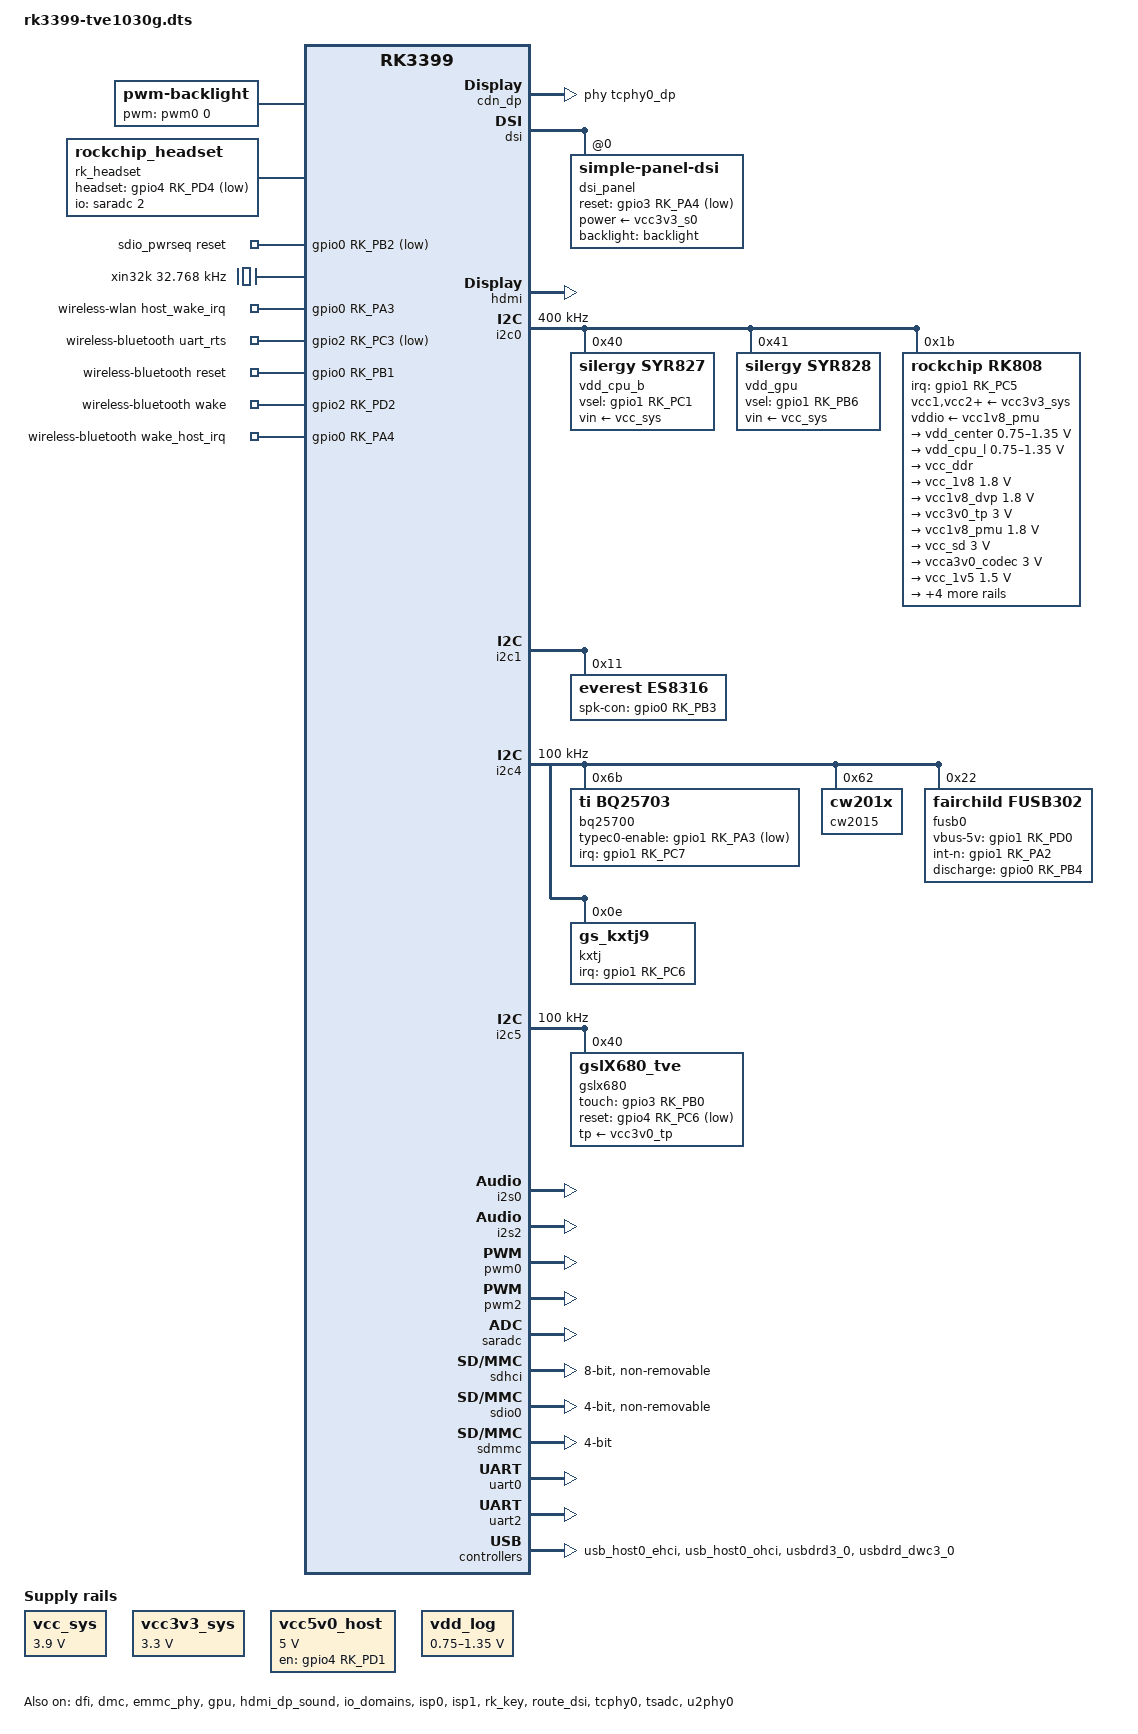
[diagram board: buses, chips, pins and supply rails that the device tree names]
/*
 * Copyright (c) 2018 Fuzhou Rockchip Electronics Co., Ltd
 *
 * SPDX-License-Identifier: (GPL-2.0+ OR MIT)
 */

/dts-v1/;
#include <dt-bindings/pwm/pwm.h>
#include <dt-bindings/sensor-dev.h>
#include "rk3399.dtsi"
#include "rk3399-android.dtsi"
#include "rk3399-opp.dtsi"
#include "rk3399-vop-clk-set.dtsi"

/ {
	compatible = "rockchip,rk3399-tve1030g", "rockchip,rk3399";

	backlight: backlight {
		compatible = "pwm-backlight";
		pwms = <&pwm0 0 25000 0>;
		brightness-levels = <
			  0  20  20  21  21  22  22  23
			 23  24  24  25  25  26  26  27
			 27  28  28  29  29  30  30  31
			 31  32  32  33  33  34  34  35
			 35  36  36  37  37  38  38  39
			 40  41  42  43  44  45  46  47
			 48  49  50  51  52  53  54  55
			 56  57  58  59  60  61  62  63
			 64  65  66  67  68  69  70  71
			 72  73  74  75  76  77  78  79
			 80  81  82  83  84  85  86  87
			 88  89  90  91  92  93  94  95
			 96  97  98  99 100 101 102 103
			104 105 106 107 108 109 110 111
			112 113 114 115 116 117 118 119
			120 121 122 123 124 125 126 127
			128 129 130 131 132 133 134 135
			136 137 138 139 140 141 142 143
			144 145 146 147 148 149 150 151
			152 153 154 155 156 157 158 159
			160 161 162 163 164 165 166 167
			168 169 170 171 172 173 174 175
			176 177 178 179 180 181 182 183
			184 185 186 187 188 189 190 191
			192 193 194 195 196 197 198 199
			200 201 202 203 204 205 206 207
			208 209 210 211 212 213 214 215
			216 217 218 219 220 221 222 223
			224 225 226 227 228 229 230 231
			232 233 234 235 236 237 238 239
			240 241 242 243 244 245 246 247
			248 249 250 251 252 253 254 255
		>;
		default-brightness-level = <200>;
	};

	es8316-sound {
		compatible = "simple-audio-card";
		simple-audio-card,format = "i2s";
		simple-audio-card,name = "rockchip,es8316-codec";
		simple-audio-card,mclk-fs = <256>;
		simple-audio-card,widgets =
			"Microphone", "Mic Jack",
			"Headphone", "Headphone Jack";
		simple-audio-card,routing =
			"Mic Jack", "MICBIAS1",
			"IN1P", "Mic Jack",
			"Headphone Jack", "HPOL",
			"Headphone Jack", "HPOR";
		simple-audio-card,cpu {
			sound-dai = <&i2s0>;
		};
		simple-audio-card,codec {
			sound-dai = <&es8316>;
		};
	};

	rk_headset {
		compatible = "rockchip_headset";
		headset_gpio = <&gpio4 RK_PD4 GPIO_ACTIVE_LOW>;
		pinctrl-names = "default";
		pinctrl-0 = <&hp_det>;
		io-channels = <&saradc 2>;
	};

	sdio_pwrseq: sdio-pwrseq {
		compatible = "mmc-pwrseq-simple";
		clocks = <&rk808 1>;
		clock-names = "ext_clock";
		pinctrl-names = "default";
		pinctrl-0 = <&wifi_enable_h>;

		/*
		 * On the module itself this is one of these (depending
		 * on the actual card populated):
		 * - SDIO_RESET_L_WL_REG_ON
		 * - PDN (power down when low)
		 */
		reset-gpios = <&gpio0 RK_PB2 GPIO_ACTIVE_LOW>;
	};

	uboot-charge {
		compatible = "rockchip,uboot-charge";
		rockchip,uboot-charge-on = <0>;
		rockchip,android-charge-on = <1>;
	};

	vcc_sys: vcc-sys {
		compatible = "regulator-fixed";
		regulator-name = "vcc_sys";
		regulator-always-on;
		regulator-boot-on;
		regulator-min-microvolt = <3900000>;
		regulator-max-microvolt = <3900000>;
	};

	vcc3v3_sys: vcc3v3-sys {
		compatible = "regulator-fixed";
		regulator-name = "vcc3v3_sys";
		regulator-always-on;
		regulator-boot-on;
		regulator-min-microvolt = <3300000>;
		regulator-max-microvolt = <3300000>;
	};

	vcc5v0_host: vcc5v0-host-regulator {
		compatible = "regulator-fixed";
		gpio = <&gpio4 RK_PD1 GPIO_ACTIVE_HIGH>;
		pinctrl-names = "default";
		pinctrl-0 = <&host_vbus_drv>;
		regulator-name = "vcc5v0_host";
		regulator-min-microvolt = <5000000>;
		regulator-max-microvolt = <5000000>;
		regulator-always-on;
		enable-active-high;
	};

	vdd_log: vdd-log {
		compatible = "pwm-regulator";
		pwms = <&pwm2 0 25000 1>;
		rockchip,pwm_id= <2>;
		rockchip,pwm_voltage = <1000000>;
		regulator-name = "vdd_log";
		regulator-min-microvolt = <750000>;
		regulator-max-microvolt = <1350000>;
		regulator-always-on;
		regulator-boot-on;
	};

	xin32k: xin32k {
		compatible = "fixed-clock";
		clock-frequency = <32768>;
		clock-output-names = "xin32k";
		#clock-cells = <0>;
	};

	wireless-wlan {
		compatible = "wlan-platdata";
		rockchip,grf = <&grf>;
		wifi_chip_type = "ap6255";
		sdio_vref = <1800>;
		WIFI,host_wake_irq = <&gpio0 RK_PA3 GPIO_ACTIVE_HIGH>;
		status = "okay";
	};

	wireless-bluetooth {
		compatible = "bluetooth-platdata";
		clocks = <&rk808 1>;
		clock-names = "ext_clock";
		uart_rts_gpios = <&gpio2 RK_PC3 GPIO_ACTIVE_LOW>;
		pinctrl-names = "default", "rts_gpio";
		pinctrl-0 = <&uart0_rts>;
		pinctrl-1 = <&uart0_gpios>;
		BT,reset_gpio    = <&gpio0 RK_PB1 GPIO_ACTIVE_HIGH>;
		BT,wake_gpio     = <&gpio2 RK_PD2 GPIO_ACTIVE_HIGH>;
		BT,wake_host_irq = <&gpio0 RK_PA4 GPIO_ACTIVE_HIGH>;
		status = "okay";
	};
};

&cdn_dp {
	status = "okay";
	extcon = <&fusb0>;
	phys = <&tcphy0_dp>;
};

&cpu_l0 {
	cpu-supply = <&vdd_cpu_l>;
};

&cpu_l1 {
	cpu-supply = <&vdd_cpu_l>;
};

&cpu_l2 {
	cpu-supply = <&vdd_cpu_l>;
};

&cpu_l3 {
	cpu-supply = <&vdd_cpu_l>;
};

&cpu_b0 {
	cpu-supply = <&vdd_cpu_b>;
};

&cpu_b1 {
	cpu-supply = <&vdd_cpu_b>;
};

&dfi {
	status = "okay";
};

&dmc {
	status = "okay";
	system-status-freq = <
		/*system status         freq(KHz)*/
		SYS_STATUS_NORMAL       800000
		SYS_STATUS_REBOOT       400000
		SYS_STATUS_SUSPEND      400000
		SYS_STATUS_VIDEO_1080P  400000
		SYS_STATUS_VIDEO_4K     800000
		SYS_STATUS_VIDEO_4K_10B 800000
		SYS_STATUS_PERFORMANCE  800000
		SYS_STATUS_BOOST        400000
		SYS_STATUS_DUALVIEW     800000
		SYS_STATUS_ISP          800000
	>;
	auto-min-freq = <400000>;
	auto-freq-en = <0>;
};

&dmc_opp_table {
	compatible = "operating-points-v2";

	opp-200000000 {
		opp-hz = /bits/ 64 <200000000>;
		opp-microvolt = <825000>;
		status = "disabled";
	};
	opp-300000000 {
		opp-hz = /bits/ 64 <300000000>;
		opp-microvolt = <850000>;
		status = "disabled";
	};
	opp-400000000 {
		opp-hz = /bits/ 64 <400000000>;
		opp-microvolt = <900000>;
	};
	opp-528000000 {
		opp-hz = /bits/ 64 <528000000>;
		opp-microvolt = <900000>;
		status = "disabled";
	};
	opp-600000000 {
		opp-hz = /bits/ 64 <600000000>;
		opp-microvolt = <900000>;
		status = "disabled";
	};
	opp-800000000 {
		opp-hz = /bits/ 64 <800000000>;
		opp-microvolt = <900000>;
	};
	opp-928000000 {
		opp-hz = /bits/ 64 <928000000>;
		opp-microvolt = <900000>;
		status = "disabled";
	};
	opp-1056000000 {
		opp-hz = /bits/ 64 <1056000000>;
		opp-microvolt = <900000>;
		status = "disabled";
	};
};

&dp_in_vopb {
	status = "disabled";
};

&dsi {
	status = "okay";
	rockchip,lane-rate = <1000>;
	dsi_panel: panel@0 {
		status = "okay";
		compatible = "simple-panel-dsi";
		reg = <0>;
		backlight = <&backlight>;
		power-supply = <&vcc3v3_s0>;
		reset-gpios = <&gpio3 RK_PA4 GPIO_ACTIVE_LOW>;
		pinctrl-names = "default";
		pinctrl-0 = <&lcd_rst_gpio>;
		reset-delay-ms = <60>;
		dsi,flags = <(MIPI_DSI_MODE_VIDEO | MIPI_DSI_MODE_VIDEO_BURST |
			      MIPI_DSI_MODE_LPM | MIPI_DSI_MODE_EOT_PACKET)>;
		dsi,format = <MIPI_DSI_FMT_RGB888>;
		dsi,lanes  = <4>;
		panel-init-sequence = [
			15 05 02 8F A5
			15 14 02 01 00
			15 05 02 8F A5
			15 00 02 83 AA
			15 00 02 84 11
			15 00 02 A9 4B
			15 00 02 83 00
			15 00 02 84 00
			15 00 02 8F 00
		];

		disp_timings: display-timings {
			native-mode = <&timing0>;
			timing0: timing0 {
				clock-frequency = <150000000>;
				hactive = <1200>;
				hfront-porch = <80>;
				hback-porch = <60>;
				hsync-len = <1>;
				vactive = <1920>;
				vfront-porch = <35>;
				vback-porch = <25>;
				vsync-len = <1>;
				hsync-active = <0>;
				vsync-active = <0>;
				de-active = <0>;
				pixelclk-active = <0>;
			};
		};
	};
};

&dsi_in_vopl {
	status = "disabled";
};

&emmc_phy {
	status = "okay";
};

&gpu {
	status = "okay";
	mali-supply = <&vdd_gpu>;
};

&hdmi {
	status = "okay";
};

&hdmi_dp_sound {
	status = "okay";
};

&hdmi_in_vopb {
	status = "disabled";
};

&i2c0 {
	status = "okay";
	i2c-scl-rising-time-ns = <180>;
	i2c-scl-falling-time-ns = <30>;
	clock-frequency = <400000>;

	vdd_cpu_b: syr837@40 {
		compatible = "silergy,syr827";
		reg = <0x40>;
		vin-supply = <&vcc_sys>;
		regulator-compatible = "fan53555-reg";
		pinctrl-0 = <&vsel1_gpio>;
		vsel-gpios = <&gpio1 RK_PC1 GPIO_ACTIVE_HIGH>;
		regulator-name = "vdd_cpu_b";
		regulator-min-microvolt = <712500>;
		regulator-max-microvolt = <1500000>;
		regulator-ramp-delay = <1000>;
		fcs,suspend-voltage-selector = <1>;
		regulator-always-on;
		regulator-initial-state = <3>;
		regulator-state-mem {
			regulator-off-in-suspend;
		};
	};

	vdd_gpu: syr828@41 {
		compatible = "silergy,syr828";
		status = "okay";
		reg = <0x41>;
		vin-supply = <&vcc_sys>;
		regulator-compatible = "fan53555-reg";
		pinctrl-0 = <&vsel2_gpio>;
		vsel-gpios = <&gpio1 RK_PB6 GPIO_ACTIVE_HIGH>;
		regulator-name = "vdd_gpu";
		regulator-min-microvolt = <735000>;
		regulator-max-microvolt = <1400000>;
		regulator-ramp-delay = <1000>;
		fcs,suspend-voltage-selector = <1>;
		regulator-always-on;
		regulator-boot-on;
		regulator-state-mem {
			regulator-off-in-suspend;
		};
	};

	rk808: pmic@1b {
		compatible = "rockchip,rk808";
		reg = <0x1b>;
		interrupt-parent = <&gpio1>;
		interrupts = <RK_PC5 IRQ_TYPE_LEVEL_LOW>;
		pinctrl-0 = <&pmic_int_l>;
		rockchip,system-power-controller;
		wakeup-source;
		#clock-cells = <1>;
		clock-output-names = "rk808-clkout1", "rk808-clkout2";
		vcc1-supply = <&vcc3v3_sys>;
		vcc2-supply = <&vcc3v3_sys>;
		vcc3-supply = <&vcc3v3_sys>;
		vcc4-supply = <&vcc3v3_sys>;
		vcc6-supply = <&vcc3v3_sys>;
		vcc7-supply = <&vcc3v3_sys>;
		vcc8-supply = <&vcc3v3_sys>;
		vcc9-supply = <&vcc3v3_sys>;
		vcc10-supply = <&vcc3v3_sys>;
		vcc11-supply = <&vcc3v3_sys>;
		vcc12-supply = <&vcc3v3_sys>;
		vddio-supply = <&vcc1v8_pmu>;

		regulators {

			vdd_center: DCDC_REG1 {
				regulator-always-on;
				regulator-boot-on;
				regulator-min-microvolt = <750000>;
				regulator-max-microvolt = <1350000>;
				regulator-ramp-delay = <6001>;
				regulator-name = "vdd_center";
				regulator-state-mem {
					regulator-off-in-suspend;
				};
			};
			vdd_cpu_l: DCDC_REG2 {
				regulator-always-on;
				regulator-boot-on;
				regulator-min-microvolt = <750000>;
				regulator-max-microvolt = <1350000>;
				regulator-ramp-delay = <6001>;
				regulator-name = "vdd_cpu_l";
				regulator-state-mem {
					regulator-off-in-suspend;
				};
			};
			vcc_ddr: DCDC_REG3 {
				regulator-always-on;
				regulator-boot-on;
				regulator-name = "vcc_ddr";
				regulator-state-mem {
					regulator-on-in-suspend;
				};
			};
			vcc_1v8: DCDC_REG4 {
				regulator-always-on;
				regulator-boot-on;
				regulator-min-microvolt = <1800000>;
				regulator-max-microvolt = <1800000>;
				regulator-name = "vcc_1v8";
				regulator-state-mem {
				regulator-on-in-suspend;
					regulator-suspend-microvolt = <1800000>;
				};
			};
			vcc1v8_dvp: LDO_REG1 {
				regulator-always-on;
				regulator-boot-on;
				regulator-min-microvolt = <1800000>;
				regulator-max-microvolt = <1800000>;
				regulator-name = "vcc1v8_dvp";
				regulator-state-mem {
					regulator-off-in-suspend;
				};
			};
			vcc3v0_tp: LDO_REG2 {
				regulator-always-on;
				regulator-boot-on;
				regulator-min-microvolt = <3000000>;
				regulator-max-microvolt = <3000000>;
				regulator-name = "vcc3v0_tp";
				regulator-state-mem {
					regulator-on-in-suspend;
				};
			};
			vcc1v8_pmu: LDO_REG3 {
				regulator-always-on;
				regulator-boot-on;
				regulator-min-microvolt = <1800000>;
				regulator-max-microvolt = <1800000>;
				regulator-name = "vcc1v8_pmu";
				regulator-state-mem {
					regulator-on-in-suspend;
					regulator-suspend-microvolt = <1800000>;
				};
			};
			vcc_sd: LDO_REG4 {
				regulator-always-on;
				regulator-boot-on;
				regulator-min-microvolt = <3000000>;
				regulator-max-microvolt = <3000000>;
				regulator-name = "vcc_sd";
				regulator-state-mem {
					regulator-on-in-suspend;
					regulator-suspend-microvolt = <3000000>;
				};
			};
			vcca3v0_codec: LDO_REG5 {
				regulator-always-on;
				regulator-boot-on;
				regulator-min-microvolt = <3000000>;
				regulator-max-microvolt = <3000000>;
				regulator-name = "vcca3v0_codec";
				regulator-state-mem {
					regulator-off-in-suspend;
				};
			};
			vcc_1v5: LDO_REG6 {
				regulator-always-on;
				regulator-boot-on;
				regulator-min-microvolt = <1500000>;
				regulator-max-microvolt = <1500000>;
				regulator-name = "vcc_1v5";
				regulator-state-mem {
					regulator-on-in-suspend;
					regulator-suspend-microvolt = <1500000>;
				};
			};
			vcca1v8_codec: LDO_REG7 {
				regulator-always-on;
				regulator-boot-on;
				regulator-min-microvolt = <1800000>;
				regulator-max-microvolt = <1800000>;
				regulator-name = "vcca1v8_codec";
				regulator-state-mem {
					regulator-off-in-suspend;
				};
			};
			vcc_3v0: LDO_REG8 {
				regulator-always-on;
				regulator-boot-on;
				regulator-min-microvolt = <3000000>;
				regulator-max-microvolt = <3000000>;
				regulator-name = "vcc_3v0";
				regulator-state-mem {
					regulator-on-in-suspend;
					regulator-suspend-microvolt = <3000000>;
				};
			};
			vcc3v3_s3: SWITCH_REG1 {
				regulator-always-on;
				regulator-boot-on;
				regulator-name = "vcc3v3_s3";
				regulator-state-mem {
					regulator-off-in-suspend;
				};
			};
			vcc3v3_s0: SWITCH_REG2 {
				regulator-boot-on;
				regulator-name = "vcc3v3_s0";
				regulator-state-mem {
					regulator-off-in-suspend;
				};
			};
		};
	};
};

&i2c1 {
	status = "okay";
	i2c-scl-rising-time-ns = <140>;
	i2c-scl-falling-time-ns = <30>;

	es8316: es8316@11 {
		#sound-dai-cells = <0>;
		compatible = "everest,es8316";
		reg = <0x11>;
		clocks = <&cru SCLK_I2S_8CH_OUT>;
		clock-names = "mclk";
		pinctrl-names = "default";
		pinctrl-0 = <&i2s_8ch_mclk>;
		spk-con-gpio = <&gpio0 RK_PB3 GPIO_ACTIVE_HIGH>;
	};
};

&i2c4 {
	status = "okay";
	i2c-scl-rising-time-ns = <345>;
	i2c-scl-falling-time-ns = <11>;
	clock-frequency = <100000>;

	bq25700: bq25700@6b {
		compatible = "ti,bq25703";
		reg = <0x6b>;
		extcon = <&fusb0>;
		interrupt-parent = <&gpio1>;
		interrupts = <RK_PC7 IRQ_TYPE_LEVEL_LOW>;
		pinctrl-names = "default";
		pinctrl-0 = <&charger_ok>;
		ti,charge-current = <1500000>;
		ti,max-charge-voltage = <8704000>;
		ti,max-input-voltage = <20000000>;
		ti,max-input-current = <6000000>;
		ti,input-current-sdp = <500000>;
		ti,input-current-dcp = <2000000>;
		ti,input-current-cdp = <2000000>;
		ti,input-current-dc = <2000000>;
		ti,minimum-sys-voltage = <6700000>;
		ti,otg-voltage = <5000000>;
		ti,otg-current = <500000>;
		ti,input-current = <500000>;
		pd-charge-only = <0>;
		typec0-enable-gpios = <&gpio1 RK_PA3 GPIO_ACTIVE_LOW>;
		status = "okay";
	};

	cw2015: cw2015@62 {
		status = "okay";
		compatible = "cw201x";
		reg = <0x62>;
		bat_config_info = <0x15 0xA8 0x5D 0x5D 0x59 0x55 0x57 0x50
				   0x4B 0x4F 0x55 0x53 0x43 0x37 0x2F 0x28
				   0x21 0x18 0x15 0x17 0x27 0x43 0x57 0x4F
				   0x13 0x5E 0x0A 0xE1 0x19 0x31 0x3C 0x46
				   0x4C 0x52 0x50 0x54 0x44 0x1E 0x7E 0x4C
				   0x1C 0x4A 0x52 0x87 0x8F 0x91 0x94 0x52
				   0x82 0x8C 0x92 0x96 0x00 0xAD 0xFB 0xCB
				   0x2F 0x7D 0x72 0xA5 0xB5 0xC1 0x1C 0x09>;
		monitor_sec = <2>;
		virtual_power = <0>;
		divider_res1 = <200>;
		divider_res2 = <200>;
	};

	fusb0: fusb30x@22 {
		compatible = "fairchild,fusb302";
		reg = <0x22>;
		pinctrl-names = "default";
		pinctrl-0 = <&fusb0_int>;
		vbus-5v-gpios = <&gpio1 RK_PD0 GPIO_ACTIVE_HIGH>;
		int-n-gpios = <&gpio1 RK_PA2 GPIO_ACTIVE_HIGH>;
		discharge-gpios = <&gpio0 RK_PB4 GPIO_ACTIVE_HIGH>;
		charge-dev = <&bq25700>;
		support-uboot-charge = <1>;
		port-num = <0>;
		status = "okay";
	};

	kxtj: kxtj2@0e {
		status = "okay";
		compatible = "gs_kxtj9";
		pinctrl-names = "default";
		pinctrl-0 = <&kxtj2_irq_gpio>;
		reg = <0x0e>;
		irq-gpio = <&gpio1 RK_PC6 IRQ_TYPE_EDGE_RISING>;
		type = <SENSOR_TYPE_ACCEL>;
		irq_enable = <0>;
		poll_delay_ms = <30>;
		power-off-in-suspend = <1>;
		layout = <5>;
	};
};

&i2c5 {
	status = "okay";
	i2c-scl-rising-time-ns = <150>;
	i2c-scl-falling-time-ns = <30>;
	clock-frequency = <100000>;

	gslx680: gslx680@40 {
		compatible = "gslX680_tve";
		reg = <0x40>;
		pinctrl-names = "default";
		pinctrl-0 = <&tp_irq_gpio>;
		touch-gpio = <&gpio3 RK_PB0 IRQ_TYPE_EDGE_RISING>;
		reset-gpio = <&gpio4 RK_PC6 GPIO_ACTIVE_LOW>;
		max-x = <1200>;
		max-y = <1920>;
		tp-size = <80>;
		tp-supply = <&vcc3v0_tp>;
		status = "okay";
	};
};

&i2s0 {
	status = "okay";
	rockchip,i2s-broken-burst-len;
	rockchip,playback-channels = <8>;
	rockchip,capture-channels = <8>;
	#sound-dai-cells = <0>;
};

&i2s2 {
	#sound-dai-cells = <0>;
	status = "okay";
};

&io_domains {
	status = "okay";
	bt656-supply = <&vcc1v8_dvp>;
	audio-supply = <&vcca1v8_codec>;
	sdmmc-supply = <&vcc_sd>;
	gpio1830-supply = <&vcc_3v0>;
};

&isp0 {
	status = "okay";
};

&isp1 {
	status = "okay";
};

&isp0_mmu {
	status = "okay";
};

&isp1_mmu {
	status = "okay";
};

&pinctrl {

	charger {
		charger_ok: charge-ok {
			rockchip,pins =
				<1 RK_PC7 RK_FUNC_GPIO &pcfg_pull_up>;
		};
	};

	fusb30x {
		fusb0_int: fusb0-int {
			rockchip,pins =
				<1 RK_PA2 RK_FUNC_GPIO &pcfg_pull_up>,
				<0 RK_PB4 RK_FUNC_GPIO &pcfg_pull_up>;
			};
	};

	headphone {
		hp_det: hp-det {
			rockchip,pins = <4 RK_PD4 RK_FUNC_GPIO &pcfg_pull_up>;
		};
	};

	kxtj2 {
		kxtj2_irq_gpio: kxtj2-irq-gpio {
			rockchip,pins = <1 RK_PC6 RK_FUNC_GPIO &pcfg_pull_none>;
		};
	};

	lcd_rst {
		lcd_rst_gpio: lcd-rst-gpio {
			rockchip,pins = <3 RK_PA4 RK_FUNC_GPIO &pcfg_pull_none>;
		};
	};

	pmic {
		pmic_int_l: pmic-int-l {
			rockchip,pins =
				<1 RK_PC5 RK_FUNC_GPIO &pcfg_pull_up>;
		};
		vsel1_gpio: vsel1-gpio {
			rockchip,pins =
				<1 RK_PC1 RK_FUNC_GPIO &pcfg_pull_down>;
		};
		vsel2_gpio: vsel2-gpio {
			rockchip,pins =
				<1 RK_PB6 RK_FUNC_GPIO &pcfg_pull_down>;
		};
	};

	sdio-pwrseq {
		wifi_enable_h: wifi-enable-h {
			rockchip,pins = <0 RK_PB2 RK_FUNC_GPIO &pcfg_pull_none>;
		};
	};

	tp_irq {
		tp_irq_gpio: tp-irq-gpio {
			rockchip,pins = <3 RK_PB0 RK_FUNC_GPIO &pcfg_pull_up>;
		};
	};

	usb2 {
		host_vbus_drv: host-vbus-drv {
			rockchip,pins =
				<4 RK_PD1 RK_FUNC_GPIO &pcfg_pull_none>;
		};
	};

	wireless-bluetooth {
		uart0_gpios: uart0-gpios {
			rockchip,pins = <2 RK_PC3 RK_FUNC_GPIO &pcfg_pull_none>;
		};
	};
};

&pmu_io_domains {
	status = "okay";
	pmu1830-supply = <&vcc_1v8>;
};

&pwm0 {
	status = "okay";
};

&pwm2 {
	status = "okay";
};

&rk_key {
	status = "okay";
	compatible = "rockchip,key";
	io-channels = <&saradc 1>;

	vol-up-key {
		linux,code = <114>;
		label = "volume up";
		rockchip,adc_value = <170>;
	};

	vol-down-key {
		linux,code = <115>;
		label = "volume down";
		rockchip,adc_value = <1>;
	};

	power-key {
		gpios = <&gpio0 5 GPIO_ACTIVE_LOW>;
		linux,code = <116>;
		label = "power";
		gpio-key,wakeup;
	};
};

&rockchip_suspend {
	status = "okay";
	rockchip,sleep-debug-en = <1>;
	rockchip,sleep-mode-config = <
		(0
		| RKPM_SLP_ARMPD
		| RKPM_SLP_PERILPPD
		| RKPM_SLP_DDR_RET
		| RKPM_SLP_PLLPD
		| RKPM_SLP_CENTER_PD
		| RKPM_SLP_OSC_DIS
		| RKPM_SLP_AP_PWROFF
		)
	>;
	rockchip,wakeup-config = <
		(0
		| RKPM_GPIO_WKUP_EN
		)
	>;
	rockchip,pwm-regulator-config = <
		(0
		| PWM2_REGULATOR_EN
		)
	>;
	rockchip,power-ctrl =
		<&gpio1 RK_PC1 GPIO_ACTIVE_HIGH>,
		<&gpio1 RK_PB6 GPIO_ACTIVE_HIGH>;
};

&route_dsi {
	status = "okay";
	logo,mode = "center";
};

&saradc {
	status = "okay";
};

&sdhci {
	bus-width = <8>;
	mmc-hs400-1_8v;
	supports-emmc;
	non-removable;
	keep-power-in-suspend;
	mmc-hs400-enhanced-strobe;
	status = "okay";
};

&sdio0 {
	clock-frequency = <100000000>;
	clock-freq-min-max = <200000 100000000>;
	supports-sdio;
	bus-width = <4>;
	disable-wp;
	cap-sd-highspeed;
	cap-sdio-irq;
	keep-power-in-suspend;
	mmc-pwrseq = <&sdio_pwrseq>;
	non-removable;
	num-slots = <1>;
	pinctrl-names = "default";
	pinctrl-0 = <&sdio0_bus4 &sdio0_cmd &sdio0_clk>;
	sd-uhs-sdr104;
	status = "okay";
};

&sdmmc {
	clock-frequency = <50000000>;
	clock-freq-min-max = <400000 150000000>;
	supports-sd;
	bus-width = <4>;
	cap-mmc-highspeed;
	cap-sd-highspeed;
	disable-wp;
	num-slots = <1>;
	//sd-uhs-sdr104;
	vqmmc-supply = <&vcc_sd>;
	pinctrl-names = "default";
	pinctrl-0 = <&sdmmc_clk &sdmmc_cmd &sdmmc_cd &sdmmc_bus4>;
	status = "okay";
};

&tcphy0 {
	extcon = <&fusb0>;
	status = "okay";
};

&tsadc {
	rockchip,hw-tshut-mode = <1>; /* tshut mode 0:CRU 1:GPIO */
	rockchip,hw-tshut-polarity = <1>; /* tshut polarity 0:LOW 1:HIGH */
	status = "okay";
};

&u2phy0 {
	status = "okay";
	extcon = <&fusb0>;

	u2phy0_otg: otg-port {
		status = "okay";
	};

	u2phy0_host: host-port {
		phy-supply = <&vcc5v0_host>;
		status = "okay";
	};
};

&uart0 {
	pinctrl-names = "default";
	pinctrl-0 = <&uart0_xfer &uart0_cts>;
	status = "okay";
};

&uart2 {
	status = "okay";
};

&usb_host0_ehci {
	status = "okay";
};

&usb_host0_ohci {
	status = "okay";
};

&usbdrd3_0 {
	extcon = <&fusb0>;
	status = "okay";
};

&usbdrd_dwc3_0 {
	status = "okay";
};

&vopb {
	assigned-clocks = <&cru DCLK_VOP0_DIV>;
	assigned-clock-parents = <&cru PLL_CPLL>;
};

&vopl {
	assigned-clocks = <&cru DCLK_VOP1_DIV>;
	assigned-clock-parents = <&cru PLL_VPLL>;
};
